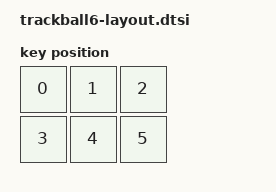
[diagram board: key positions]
#include <physical_layouts.dtsi>

/ {
    trackball6_layout: trackball6_layout {
        compatible = "zmk,physical-layout";
        display-name = "Trackball6";

        keys
            = <&key_physical_attrs 100 100   0   0 0 0 0>
            , <&key_physical_attrs 100 100 100   0 0 0 0>
            , <&key_physical_attrs 100 100 200   0 0 0 0>
            , <&key_physical_attrs 100 100   0 100 0 0 0>
            , <&key_physical_attrs 100 100 100 100 0 0 0>
            , <&key_physical_attrs 100 100 200 100 0 0 0>
            ;
    };
};
